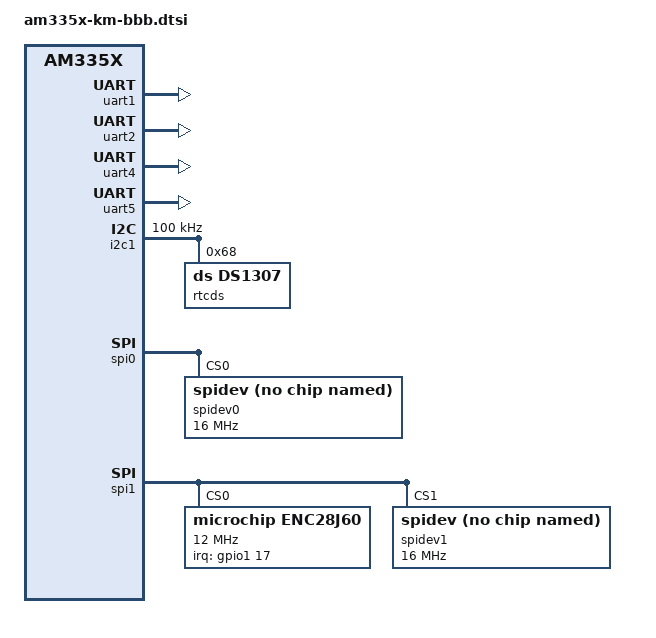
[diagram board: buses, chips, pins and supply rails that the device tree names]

/ {
        gpio-keys {
                pinctrl-names = "default";
                pinctrl-0 = <&km_gpio_pins>;
                compatible = "gpio-keys";
	};

};


&am33xx_pinmux {
 
	/* For modifing this you need to refer BBB P8 & P9 HeaderTable.pdf */

	km_gpio_pins: pinmux_km_gpio_pins {
		pinctrl-single,pins = <
		0x0d8   0x07    /*P8_31(LCD_DATA14.GPIO0_10-->USER_LED)Mode7|*/
		0x0dc   0x37    /*P8_32(LCD_DATA15.GPIO0_11-->USER_SW)Mode7|*/
		0x034   0x0f    /*P8_11(GPIO1_13-->LCD_D5)Mode7|*/
		0x030   0x0f    /*P8_12(GPIO1_12-->LCD_D4)Mode7|*/
		0x028   0x37    /*P8_14(GPIO0_26-->SW_UP)Mode7|*/
		0x03c   0x0f    /*P8_15(GPIO1_15-->LCD_D7)Mode7|*/
		0x038   0x0f    /*P8_16(GPIO1_14-->LCD_D6)Mode7|*/
		0x02c   0x37    /*P8_17(GPIO0_27-->SW_DOWN)Mode7|*/
		0x0e0   0x0f    /*P8_27(LCD_VSYNC.GPIO2_22-->LCD_RS)Mode7*/
		0x0e8   0x0f    /*P8_28(LCD_PCLK.GPIO2_24-->LCD_EN)Mode7*/
		0x0e4   0x0f    /*P8_29(LCD_HSYNC.GPIO2_23-->LCD_RW)M0de7*/
		0x0ec   0x27    /*P8_30(LCD_AC_BIAS.GPIO2_25-->KEY_PAD_8)Mode7|*/
		0x0d4   0x0f    /*P8_33(LCD_DATA13.GPIO0_9-->BUZZER)Mode7|*/
		0x0b8   0x2f    /*P8_39(LCD_DATA6.GPIO2_12-->KEY_PAD_6)Mode7*/
		0x0bc   0x2f    /*P8_40(LCD_DATA7.GPIO2_13-->KEY_PAD_7)Mode7|*/
		0x0b0   0x2f    /*P8_41(LCD_DATA4.GPIO2_10-->KEY_PAD_4)Mode7|*/
		0x0b4   0x2f    /*P8_42(LCD_DATA5.GPIO2_11-->KEY_PAD_5)Mode7|*/
		0x0a8   0x2f    /*P8_43(LCD_DATA2.GPIO2_8-->KEY_PAD_2)Mode7*/
		0x0ac   0x2f    /*P8_44(LCD_DATA3.GPIO2_9-->KEY_PAD_3)Mode7*/
		0x0a0   0x2f    /*P8_45(LCD_DATA0.GPIO2_6-->KEY_PAD_0)Mode7*/
		0x0a4   0x2f    /*P8_46(LCD_DATA1.GPIO2_7-->KEY_PAD_1)Mode7*/
		0x040   0x2f    /*P9_15(GPIO1_16-->ADXL345_INT)Mode7|Pull_UPDN Disable|RxActive*/
		0x1ac   0x0f    /*P9_25(GPIO3_21-->UART1_CTL)*/
		0x1a4   0x27    /*P9_27(GPIO3_19-->UART2_CTL)*/
		0x078   0x0f    /*P9_12(GPIO1_28-->RS485_CONTROL)Mode7|Pull_UPDN Disable*/
		>;
	};
                
	enc28j60_pin: pinmux_enc28j60_pins {
		   pinctrl-single,pins = <
			 0x044 0x37	/* gpio_49 enc28j60_INT P9_23 */
			   >;
	   };

	uart1_pins: pinmux_uart1_pins {              
		pinctrl-single,pins = <
		0x184   0x00    /*P9_24(UART1_TXD)*/
		0x180   0x00    /*P9_26(UART1_RXD)*/
                >;
	};

	uart2_pins: pinmux_uart2_pins {
		pinctrl-single,pins = <
   	    0x154   0x01    /*P9_21(UART2_TXD)*/
      	    0x150   0x01    /*P9_22(UART2_RXD)*/
                >;
	};

	uart4_pins:pinmux_uart4_pins {
		pinctrl-single,pins = <		
       0x070   0x06    /*P9_11(UART4_RXD-->UART4_RXD)*/
       0x074   0x06    /*P9_13(UART4_TXD-->UART4_TXD)*/
		>;
	};

	uart5_pins: pinmux_uart5_pins {
                  pinctrl-single,pins = <
          0x0c0   0x04    /*P8_37(LCD_DATA8.UART5_TXD)Mode4|*/
          0x0c4   0x04    /*P8_38(LCD_DATA9.UART5_RXD)Mode4|*/
          	>;
	};

	i2c1_pins:pinmux_i2c1_pins{
		pinctrl-single,pins = <
       0x15c   0x02    /*P9_17(I2C1_SCL)Using Default Func*/
       0x158   0x02    /*P9_18(I2C1_SDA)*/
		>;
	};

	spi1_pins:pinmux_spi1_pins {
		pinctrl-single,pins = <
			AM33XX_PADCONF(AM335X_PIN_MCASP0_FSX, PIN_INPUT_PULLUP, MUX_MODE3)	/* SPI1_MOSI */
			AM33XX_PADCONF(AM335X_PIN_MCASP0_AXR0, PIN_INPUT_PULLUP, MUX_MODE3)	/* SPI1_MISO */
			AM33XX_PADCONF(AM335X_PIN_MCASP0_ACLKX, PIN_INPUT_PULLUP, MUX_MODE3)    /* SPI1_SCLK */
			AM33XX_PADCONF(AM335X_PIN_MCASP0_AHCLKR, PIN_INPUT_PULLUP, MUX_MODE3)	/* SPI0_CS0 (NBATTSS) */
		>;
	};

	can0_pins:pinmux_can0_pins{
		pinctrl-single,pins =<
       0x17c   0x02    /*P9_19(I2C2_SCL-->CAN0_RX)*/
       0x178   0x02    /*P9_20(I2C2_SDA-->CAN0_TX)*/
		>;
	};
};


&uart1 {
        pinctrl-names = "default";
        pinctrl-0 = <&uart1_pins>;
        
	status = "okay";
};

&uart2 {
        pinctrl-names = "default";
        pinctrl-0 = <&uart2_pins>;

        status = "okay";
};

&uart4 {
        pinctrl-names = "default";
        pinctrl-0 = <&uart4_pins>;

        status = "okay";
};

&uart5 {
        pinctrl-names = "default";
        pinctrl-0 = <&uart5_pins>;

        status = "okay";
};

&i2c1 {
        pinctrl-names = "default";
        //pinctrl-0 = <&i2c0_pins>;
        pinctrl-0 = <&i2c1_pins>;

        status = "okay";
        clock-frequency = <100000>;

	rtcds: rtcds@68 {
                compatible = "ds,ds1307";
                reg = <0x68>;
                #address-cells = <1>;
                #size-cells = <1>;
        };
      /*  baseboard_eeprom: baseboard_eeprom@50 {
                compatible = "atmel,24c256";
                reg = <0x50>;

                #address-cells = <1>;
                #size-cells = <1>;
                baseboard_data: baseboard_data@0 {
                        reg = <0 0x100>;
                };
        };*/
};


&spi0 {
        pinctrl-names = "default";
       /* pinctrl-0 = <&spi0_pins>;*/

	spidev0: spi@0 {
		 compatible = "spidev";
		 reg = <0>;
		 spi-max-frequency = <16000000>;
	 };

};

&spi1 {
        pinctrl-names = "default";
        pinctrl-0 = <&spi1_pins>;

	enc28j60: ethernet@0 {
                   compatible = "microchip,enc28j60";
                   pinctrl-names = "default";
                   pinctrl-0 = <&enc28j60_pin>;
                   reg = <0>;
                   interrupt-parent = <&gpio1>;
                   interrupts = <17 2>;
                   spi-max-frequency = <12000000>;
                };
	spidev1: spi@1 {
		 compatible = "spidev";
		 reg = <1>;
		 spi-max-frequency = <16000000>;
	 };

};


 /*      0x19c   0x33   P9_28(SPI1_CS0)
       0X194   0X33    /*P9_29(SPI1_D0)
       0X198   0X33    /*P9_30(SPI1_D1)
       0X190   0X33    /*P9_31(SPI1_SCLK)
*/
